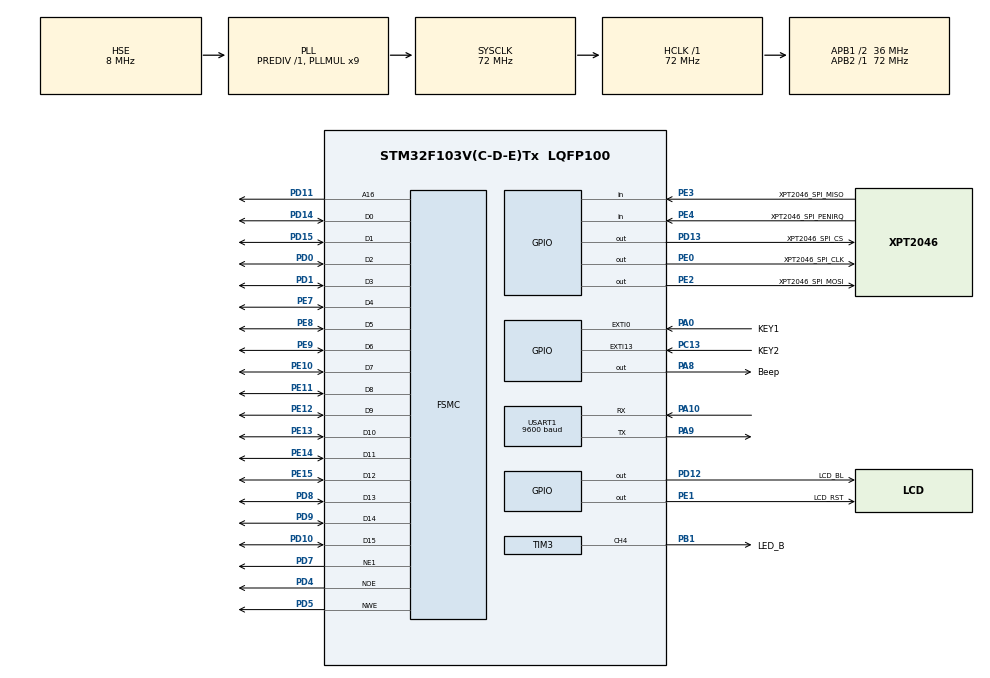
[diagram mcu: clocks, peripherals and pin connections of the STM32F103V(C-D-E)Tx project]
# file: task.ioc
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FREERTOS.INCLUDE_xSemaphoreGetMutexHolder=1
FREERTOS.Tasks01=defaultTask,0,128,StartDefaultTask,Default,NULL,Dynamic,NULL,NULL
FREERTOS.configTIMER_QUEUE_LENGTH=2
FREERTOS.configTOTAL_HEAP_SIZE=13072
FREERTOS.configUSE_IDLE_HOOK=0
FREERTOS.configUSE_TICK_HOOK=1
FREERTOS.configUSE_TIMERS=1
FSMC.AddressSetupTime1=0
FSMC.BusTurnAroundDuration1=0
FSMC.DataSetupTime1=26
FSMC.ExtendedAddressSetupTime1=0
FSMC.ExtendedBusTurnAroundDuration1=0
FSMC.ExtendedDataSetupTime1=1
FSMC.ExtendedMode1=FSMC_EXTENDED_MODE_ENABLE
Mcu.Family=STM32F1
Mcu.Name=STM32F103V(C-D-E)Tx
Mcu.Package=LQFP100
NVIC.EXTI0_IRQn=true\:5\:0\:false\:false\:true\:true\:true\:true\:true
NVIC.EXTI15_10_IRQn=true\:5\:0\:false\:false\:true\:true\:true\:true\:true
NVIC.PriorityGroup=NVIC_PRIORITYGROUP_4
NVIC.TIM1_UP_IRQn=true\:15\:0\:false\:false\:true\:false\:false\:true\:true
NVIC.TimeBase=TIM1_UP_IRQn
NVIC.TimeBaseIP=TIM1
NVIC.USART1_IRQn=true\:5\:0\:false\:false\:true\:true\:true\:true\:true
OSC_IN.Mode=HSE-External-Oscillator
OSC_IN.Signal=RCC_OSC_IN
OSC_OUT.Mode=HSE-External-Oscillator
OSC_OUT.Signal=RCC_OSC_OUT
PA0-WKUP.GPIO_Label=KEY1
PA0-WKUP.GPIO_ModeDefaultEXTI=GPIO_MODE_IT_FALLING
PA0-WKUP.GPIO_PuPd=GPIO_PULLUP
PA0-WKUP.Signal=GPXTI0
PA10.Mode=Asynchronous
PA10.Signal=USART1_RX
PA13.Mode=Serial_Wire
PA13.Signal=SYS_JTMS-SWDIO
PA14.Mode=Serial_Wire
PA14.Signal=SYS_JTCK-SWCLK
PA8.GPIO_Label=Beep
PA8.Signal=GPIO_Output
PA9.Mode=Asynchronous
PA9.Signal=USART1_TX
PB1.GPIO_Label=LED_B
PB1.GPIO_ModeDefaultPP=GPIO_MODE_AF_PP
PB1.GPIO_Speed=GPIO_SPEED_FREQ_HIGH
PB1.Signal=S_TIM3_CH4
PC13-TAMPER-RTC.GPIO_Label=KEY2
PC13-TAMPER-RTC.GPIO_ModeDefaultEXTI=GPIO_MODE_IT_FALLING
PC13-TAMPER-RTC.GPIO_PuPd=GPIO_PULLUP
PC13-TAMPER-RTC.Signal=GPXTI13
PD0.Mode=16b-d1
PD0.Signal=FSMC_D2
PD1.Mode=16b-d1
PD1.Signal=FSMC_D3
PD10.Mode=16b-d1
PD10.Signal=FSMC_D15
PD11.Mode=A16_1
PD11.Signal=FSMC_A16
PD12.GPIO_Label=LCD_BL
PD12.Signal=GPIO_Output
PD13.GPIO_Label=XPT2046_SPI_CS
PD13.GPIO_Speed=GPIO_SPEED_FREQ_HIGH
PD13.Signal=GPIO_Output
PD14.Mode=16b-d1
PD14.Signal=FSMC_D0
PD15.Mode=16b-d1
PD15.Signal=FSMC_D1
PD4.Mode=Lcd1
PD4.Signal=FSMC_NOE
PD5.Mode=Lcd1
PD5.Signal=FSMC_NWE
PD7.Mode=NorPsramChipSelect1_1
PD7.Signal=FSMC_NE1
PD8.Mode=16b-d1
PD8.Signal=FSMC_D13
PD9.Mode=16b-d1
PD9.Signal=FSMC_D14
PE0.GPIO_Label=XPT2046_SPI_CLK
PE0.GPIO_Speed=GPIO_SPEED_FREQ_HIGH
PE0.PinState=GPIO_PIN_SET
PE0.Signal=GPIO_Output
PE1.GPIO_Label=LCD_RST
PE1.Signal=GPIO_Output
PE10.Mode=16b-d1
PE10.Signal=FSMC_D7
PE11.Mode=16b-d1
PE11.Signal=FSMC_D8
PE12.Mode=16b-d1
PE12.Signal=FSMC_D9
PE13.Mode=16b-d1
PE13.Signal=FSMC_D10
PE14.Mode=16b-d1
PE14.Signal=FSMC_D11
PE15.Mode=16b-d1
PE15.Signal=FSMC_D12
PE2.GPIO_Label=XPT2046_SPI_MOSI
PE2.GPIO_Speed=GPIO_SPEED_FREQ_HIGH
PE2.Signal=GPIO_Output
PE3.GPIO_Label=XPT2046_SPI_MISO
PE3.GPIO_PuPd=GPIO_PULLUP
PE3.Signal=GPIO_Input
PE4.GPIO_Label=XPT2046_SPI_PENIRQ
PE4.GPIO_PuPd=GPIO_PULLUP
PE4.Signal=GPIO_Input
PE7.Mode=16b-d1
PE7.Signal=FSMC_D4
PE8.Mode=16b-d1
PE8.Signal=FSMC_D5
PE9.Mode=16b-d1
PE9.Signal=FSMC_D6
ProjectManager.HeapSize=0x200
ProjectManager.StackSize=0x400
ProjectManager.TargetToolchain=MDK-ARM V5.32
RCC.AHBFreq_Value=72000000
RCC.APB1CLKDivider=RCC_HCLK_DIV2
RCC.APB1Freq_Value=36000000
RCC.APB1TimFreq_Value=72000000
RCC.APB2Freq_Value=72000000
RCC.APB2TimFreq_Value=72000000
RCC.HCLKFreq_Value=72000000
RCC.PLLMUL=RCC_PLL_MUL9
RCC.PLLSourceVirtual=RCC_PLLSOURCE_HSE
RCC.SYSCLKFreq_VALUE=72000000
RCC.SYSCLKSource=RCC_SYSCLKSOURCE_PLLCLK
RCC.USBFreq_Value=72000000
SH.S_TIM3_CH4.0=TIM3_CH4,PWM Generation4 CH4
TIM3.AutoReloadPreload=TIM_AUTORELOAD_PRELOAD_ENABLE
TIM3.Channel-PWM\ Generation4\ CH4=TIM_CHANNEL_4
TIM3.OCPolarity_4=TIM_OCPOLARITY_LOW
TIM3.Period=100-1
TIM3.Prescaler=360-1
USART1.BaudRate=9600
USART1.VirtualMode=VM_ASYNC
VP_FREERTOS_VS_CMSIS_V1.Mode=CMSIS_V1
VP_SYS_VS_tim1.Mode=TIM1
VP_TIM3_VS_ClockSourceINT.Mode=Internal
board=custom

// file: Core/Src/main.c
/* USER CODE BEGIN Header */
/**
  ******************************************************************************
  * @file           : main.c
  * @brief          : Main program body
  ******************************************************************************
  * @attention
  *
  * Copyright (c) 2024 STMicroelectronics.
  * All rights reserved.
  *
  * This software is licensed under terms that can be found in the LICENSE file
  * in the root directory of this software component.
  * If no LICENSE file comes with this software, it is provided AS-IS.
  *
  ******************************************************************************
  */
/* USER CODE END Header */
#include "main.h"
#include "cmsis_os.h"
#include "tim.h"
#include "usart.h"
#include "gpio.h"
#include "fsmc.h"

/* USER CODE BEGIN Includes */
#include <stdio.h>
#include "bsp_ili9341_lcd.h"
#include "bsp_xpt2046_lcd.h"
#include "palette.h"

#include "lvgl.h"
#include "lv_port_disp_template.h"
#include "lv_port_indev_template.h"
#include "UI.h"
/* USER CODE END Includes */

/* USER CODE BEGIN PTD */
char data_rx[10];

LED_TypeDef LED_B={mode_off,"00"};
LED_TypeDef* LED_P=&LED_B;
TaskHandle_t LED_TaskHandle;
TaskHandle_t lvgl_TaskHandle;
SemaphoreHandle_t MutexSemaphore;
/* USER CODE END PTD */

void SystemClock_Config(void);
void MX_FREERTOS_Init(void);
/* USER CODE BEGIN PFP */
void lvgl_handler( void *pvParameters );
/* USER CODE END PFP */

/* USER CODE BEGIN 0 */
void LED_TaskFunc(void* param)
{
  static int pwm=0;
  while(1)
  {
    LED_TypeDef* led_p=(LED_TypeDef*)(param);
    int Mode=led_p->Mode;
    if(Mode==mode_off)
    {
      __HAL_TIM_SetCompare(&htim3,TIM_CHANNEL_4,0);
    }
    else if(Mode==mode_shine)
    {
      __HAL_TIM_SetCompare(&htim3,TIM_CHANNEL_4,100);
      vTaskDelay(1000);
      __HAL_TIM_SetCompare(&htim3,TIM_CHANNEL_4,0);
      vTaskDelay(500);
    }
    else if(Mode==mode_pwm)
    {
      while(pwm++<100)
      {
         __HAL_TIM_SetCompare(&htim3,TIM_CHANNEL_4,pwm);
         vTaskDelay(10);
      }
      while(pwm--)
      {
        __HAL_TIM_SetCompare(&htim3,TIM_CHANNEL_4,pwm);
         vTaskDelay(5);
      }
    }
    else if(Mode==mode_hand)
    {
      int light=(int)(led_p->light[0]-'0')*10+(int)(led_p->light[0]-'0');

      __HAL_TIM_SetCompare(&htim3,TIM_CHANNEL_4,light);

    }
    else if(Mode==mode_on)
    {

      __HAL_TIM_SetCompare(&htim3,TIM_CHANNEL_4,100);

    }
    vTaskDelay(20);
  }

}
/* USER CODE END 0 */

int main(void)
{

  /* USER CODE BEGIN 1 */
  MutexSemaphore=xSemaphoreCreateMutex();
  /* USER CODE END 1 */

  /* MCU Configuration--------------------------------------------------------*/

  /* Reset of all peripherals, Initializes the Flash interface and the Systick. */
  HAL_Init();

  /* Configure the system clock */
  SystemClock_Config();

  /* Initialize all configured peripherals */
  MX_GPIO_Init();
  MX_TIM3_Init();
  MX_USART1_UART_Init();
  MX_FSMC_Init();
  /* USER CODE BEGIN 2 */
  //LCD初始�?????
  ILI9341_Init();
  ILI9341_GramScan(6);
  ILI9341_Clear(0,0,LCD_X_LENGTH,LCD_Y_LENGTH);
  //ILI9341_DispString_EN(0,0,"Hello World!");
  XPT2046_Init();

  //LVGL初始�?????
  lv_init();          	//lv 系统初始�?????
  lv_port_disp_init();    //lvgl 显示接口初始化，放在lv_init后面
	lv_port_indev_init();   //lvgl 输入接口初始化，放在 lv_init后面

  my_UIInit();

  //PWM和串口初始化
  HAL_TIM_PWM_Start(&htim3,TIM_CHANNEL_4);
  HAL_UART_Receive_IT(&huart1,LED_P->light,2);

  //新建FreeRTOS任务
  xTaskCreate(LED_TaskFunc,"LED",100,LED_P,6,&LED_TaskHandle);
  xTaskCreate(lvgl_handler,"lvgl",1500,NULL,6,NULL);
  /* USER CODE END 2 */

  /* Call init function for freertos objects (in freertos.c) */
  MX_FREERTOS_Init();

  /* Start scheduler */
  osKernelStart();

  /* We should never get here as control is now taken by the scheduler */
  /* Infinite loop */
  while (1)
  {

  }
}

void SystemClock_Config(void)
{
  RCC_OscInitTypeDef RCC_OscInitStruct = {0};
  RCC_ClkInitTypeDef RCC_ClkInitStruct = {0};

  /** Initializes the RCC Oscillators according to the specified parameters
  * in the RCC_OscInitTypeDef structure.
  */
  RCC_OscInitStruct.OscillatorType = RCC_OSCILLATORTYPE_HSE;
  RCC_OscInitStruct.HSEState = RCC_HSE_ON;
  RCC_OscInitStruct.HSEPredivValue = RCC_HSE_PREDIV_DIV1;
  RCC_OscInitStruct.HSIState = RCC_HSI_ON;
  RCC_OscInitStruct.PLL.PLLState = RCC_PLL_ON;
  RCC_OscInitStruct.PLL.PLLSource = RCC_PLLSOURCE_HSE;
  RCC_OscInitStruct.PLL.PLLMUL = RCC_PLL_MUL9;
  if (HAL_RCC_OscConfig(&RCC_OscInitStruct) != HAL_OK)
  {
    Error_Handler();
  }

  /** Initializes the CPU, AHB and APB buses clocks
  */
  RCC_ClkInitStruct.ClockType = RCC_CLOCKTYPE_HCLK|RCC_CLOCKTYPE_SYSCLK
                              |RCC_CLOCKTYPE_PCLK1|RCC_CLOCKTYPE_PCLK2;
  RCC_ClkInitStruct.SYSCLKSource = RCC_SYSCLKSOURCE_PLLCLK;
  RCC_ClkInitStruct.AHBCLKDivider = RCC_SYSCLK_DIV1;
  RCC_ClkInitStruct.APB1CLKDivider = RCC_HCLK_DIV2;
  RCC_ClkInitStruct.APB2CLKDivider = RCC_HCLK_DIV1;

  if (HAL_RCC_ClockConfig(&RCC_ClkInitStruct, FLASH_LATENCY_2) != HAL_OK)
  {
    Error_Handler();
  }
}

/* USER CODE BEGIN 4 */
void lvgl_handler( void *pvParameters )
 {
   for( ;; )
   {
   // HAL_UART_Transmit_IT(&huart1,"task",5);
     xSemaphoreTake(MutexSemaphore,portMAX_DELAY);
     lv_task_handler();
     xSemaphoreGive(MutexSemaphore);
     vTaskDelay(pdMS_TO_TICKS(20));
   }
 }
void vApplicationTickHook(void)
{

   lv_tick_inc(1);
   //lv_task_handler();
   //HAL_UART_Transmit(&huart1,"task",5,500);
}

/* USER CODE END 4 */

void HAL_TIM_PeriodElapsedCallback(TIM_HandleTypeDef *htim)
{
  if (htim->Instance == TIM1) {
    HAL_IncTick();
  }
}

void Error_Handler(void)
{
  __disable_irq();
  while (1)
  {
  }
}

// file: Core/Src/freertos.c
/* USER CODE BEGIN Header */
/**
  ******************************************************************************
  * File Name          : freertos.c
  * Description        : Code for freertos applications
  ******************************************************************************
  * @attention
  *
  * Copyright (c) 2024 STMicroelectronics.
  * All rights reserved.
  *
  * This software is licensed under terms that can be found in the LICENSE file
  * in the root directory of this software component.
  * If no LICENSE file comes with this software, it is provided AS-IS.
  *
  ******************************************************************************
  */
/* USER CODE END Header */

#include "FreeRTOS.h"
#include "task.h"
#include "main.h"
#include "cmsis_os.h"

osThreadId defaultTaskHandle;

void StartDefaultTask(void const * argument);

void MX_FREERTOS_Init(void); /* (MISRA C 2004 rule 8.1) */

/* GetIdleTaskMemory prototype (linked to static allocation support) */
void vApplicationGetIdleTaskMemory( StaticTask_t **ppxIdleTaskTCBBuffer, StackType_t **ppxIdleTaskStackBuffer, uint32_t *pulIdleTaskStackSize );

/* GetTimerTaskMemory prototype (linked to static allocation support) */
void vApplicationGetTimerTaskMemory( StaticTask_t **ppxTimerTaskTCBBuffer, StackType_t **ppxTimerTaskStackBuffer, uint32_t *pulTimerTaskStackSize );

/* Hook prototypes */
void vApplicationTickHook(void);

/* USER CODE BEGIN 3 */
__weak void vApplicationTickHook( void )
{
   /* This function will be called by each tick interrupt if
   configUSE_TICK_HOOK is set to 1 in FreeRTOSConfig.h. User code can be
   added here, but the tick hook is called from an interrupt context, so
   code must not attempt to block, and only the interrupt safe FreeRTOS API
   functions can be used (those that end in FromISR()). */
}
/* USER CODE END 3 */

/* USER CODE BEGIN GET_IDLE_TASK_MEMORY */
static StaticTask_t xIdleTaskTCBBuffer;
static StackType_t xIdleStack[configMINIMAL_STACK_SIZE];

void vApplicationGetIdleTaskMemory( StaticTask_t **ppxIdleTaskTCBBuffer, StackType_t **ppxIdleTaskStackBuffer, uint32_t *pulIdleTaskStackSize )
{
  *ppxIdleTaskTCBBuffer = &xIdleTaskTCBBuffer;
  *ppxIdleTaskStackBuffer = &xIdleStack[0];
  *pulIdleTaskStackSize = configMINIMAL_STACK_SIZE;
  /* place for user code */
}
/* USER CODE END GET_IDLE_TASK_MEMORY */

/* USER CODE BEGIN GET_TIMER_TASK_MEMORY */
static StaticTask_t xTimerTaskTCBBuffer;
static StackType_t xTimerStack[configTIMER_TASK_STACK_DEPTH];

void vApplicationGetTimerTaskMemory( StaticTask_t **ppxTimerTaskTCBBuffer, StackType_t **ppxTimerTaskStackBuffer, uint32_t *pulTimerTaskStackSize )
{
  *ppxTimerTaskTCBBuffer = &xTimerTaskTCBBuffer;
  *ppxTimerTaskStackBuffer = &xTimerStack[0];
  *pulTimerTaskStackSize = configTIMER_TASK_STACK_DEPTH;
  /* place for user code */
}
/* USER CODE END GET_TIMER_TASK_MEMORY */

void MX_FREERTOS_Init(void) {

  /* Create the thread(s) */
  /* definition and creation of defaultTask */
  osThreadDef(defaultTask, StartDefaultTask, osPriorityNormal, 0, 128);
  defaultTaskHandle = osThreadCreate(osThread(defaultTask), NULL);

}

void StartDefaultTask(void const * argument)
{
  for(;;)
  {
    osDelay(1);
  }
}
